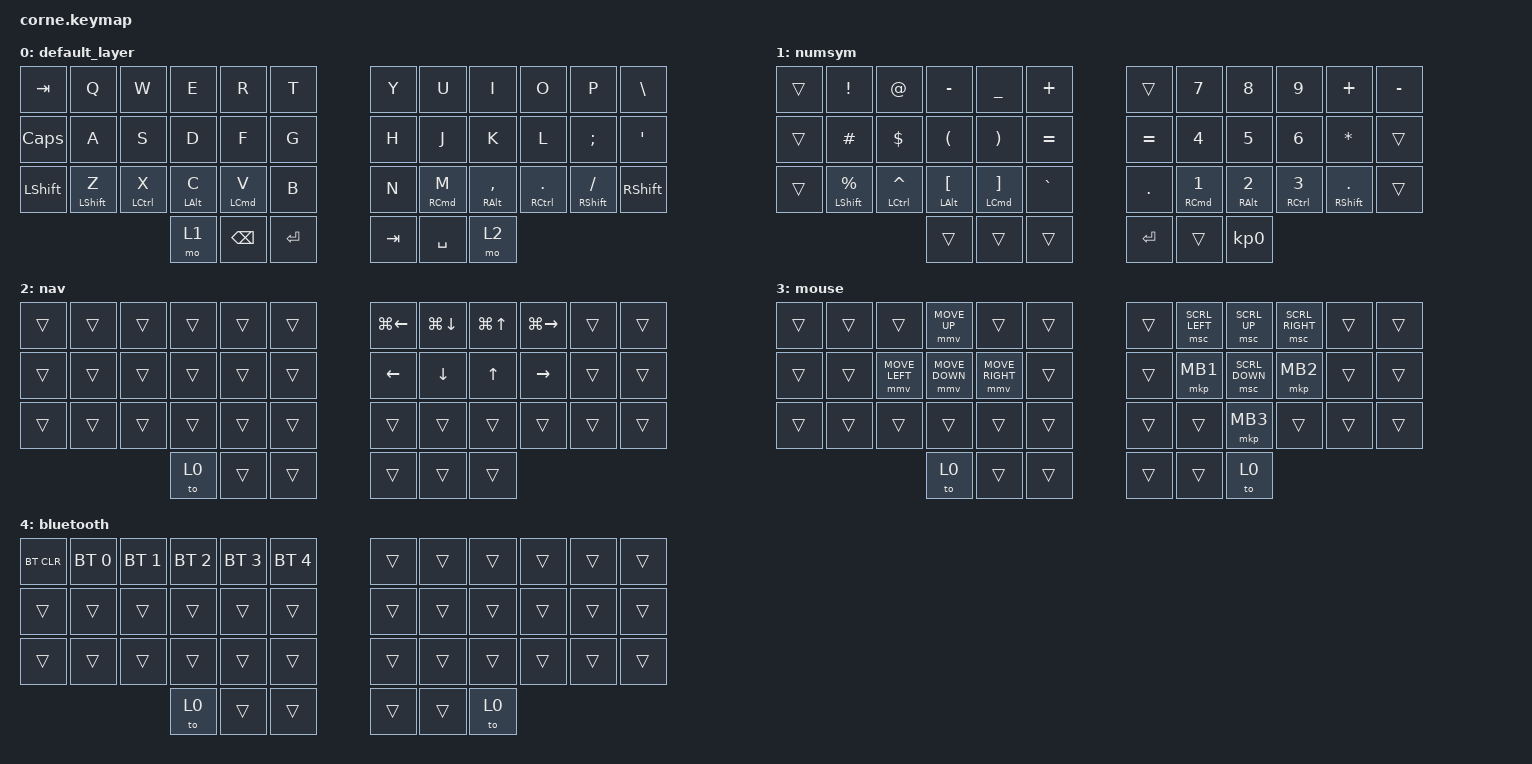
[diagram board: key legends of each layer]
/*
 * Copyright (c) 2020 The ZMK Contributors
 *
 * SPDX-License-Identifier: MIT
 */

#include <behaviors.dtsi>
#include <dt-bindings/zmk/bt.h>
#include <dt-bindings/zmk/keys.h>
#include <dt-bindings/zmk/pointing.h>

&mt {
    tapping-term-ms = <175>;
    flavor = "tap-preferred";
};

&mmv { time-to-max-speed-ms = <300>; };

/ {
    combos {
        compatible = "zmk,combos";

        to_mouse {
            bindings = <&to 3>;
            key-positions = <22 21>;
        };

        esc {
            bindings = <&kp ESCAPE>;
            key-positions = <20 19>;
        };

        lock_screen {
            bindings = <&kp LC(LG(Q))>;
            key-positions = <2 3 4 7 8 9>;
        };

        bluetooth {
            bindings = <&to 4>;
            key-positions = <25 26 27 28 31 32 33 34>;
        };
    };

    keymap {
        compatible = "zmk,keymap";

        default_layer {
            // -----------------------------------------------------------------------------------------
            // |  TAB |  Q  |  W  |  E  |  R  |  T  |   |  Y  |  U   |  I  |  O  |  P  | BKSP |
            // | CTRL |  A  |  S  |  D  |  F  |  G  |   |  H  |  J   |  K  |  L  |  ;  |  '   |
            // | SHFT |  Z  |  X  |  C  |  V  |  B  |   |  N  |  M   |  ,  |  .  |  /  | ESC  |
            //                    | GUI | LWR | SPC |   | ENT | RSE  | ALT |

            bindings = <
&kp TAB       &kp Q             &kp W               &kp E           &kp R               &kp T        &kp Y    &kp U                &kp I                &kp O                     &kp P                  &kp BACKSLASH
&kp CAPSLOCK  &kp A             &kp S               &kp D           &kp F               &kp G        &kp H    &kp J                &kp K                &kp L                     &kp SEMI               &kp SQT
&kp LSHFT     &mt LEFT_SHIFT Z  &mt LEFT_CONTROL X  &mt LEFT_ALT C  &mt LEFT_COMMAND V  &kp B        &kp N    &mt RIGHT_COMMAND M  &mt RIGHT_ALT COMMA  &mt RIGHT_CONTROL PERIOD  &mt RIGHT_SHIFT SLASH  &kp RIGHT_SHIFT
                                                    &mo 1           &kp BACKSPACE       &kp ENTER    &kp TAB  &kp SPACE            &mo 2
            >;
        };

        numsym {
            // -----------------------------------------------------------------------------------------
            // |  TAB |  1  |  2  |  3  |  4  |  5  |   |  6  |  7  |  8  |  9  |  0  | BKSP |
            // | BTCLR| BT1 | BT2 | BT3 | BT4 | BT5 |   | LFT | DWN |  UP | RGT |     |      |
            // | SHFT |     |     |     |     |     |   |     |     |     |     |     |      |
            //                    | GUI |     | SPC |   | ENT |     | ALT |

            bindings = <
&trans  &kp EXCLAMATION         &kp AT_SIGN             &kp MINUS                  &kp UNDERSCORE                  &kp PLUS     &trans      &kp N7                      &kp N8                  &kp N9                      &kp PLUS                &kp MINUS
&trans  &kp HASH                &kp DOLLAR              &kp LPAR                   &kp RIGHT_PARENTHESIS           &kp EQUAL    &kp EQUAL   &kp NUMBER_4                &kp N5                  &kp NUMBER_6                &kp ASTERISK            &trans
&trans  &mt LEFT_SHIFT PERCENT  &mt LEFT_CONTROL CARET  &mt LEFT_ALT LEFT_BRACKET  &mt LEFT_COMMAND RIGHT_BRACKET  &kp GRAVE    &kp PERIOD  &mt RIGHT_COMMAND NUMBER_1  &mt RIGHT_ALT NUMBER_2  &mt RIGHT_CONTROL NUMBER_3  &mt RIGHT_SHIFT PERIOD  &trans
                                                        &trans                     &trans                          &trans       &kp RET     &trans                      &kp KP_NUMBER_0
            >;
        };

        nav {
            bindings = <
&trans  &trans  &trans  &trans  &trans  &trans    &kp LG(LEFT)  &kp LG(DOWN_ARROW)  &kp LG(UP)    &kp LG(RIGHT)  &trans  &trans
&trans  &trans  &trans  &trans  &trans  &trans    &kp LEFT      &kp DOWN            &kp UP_ARROW  &kp RIGHT      &trans  &trans
&trans  &trans  &trans  &trans  &trans  &trans    &trans        &trans              &trans        &trans         &trans  &trans
                        &to 0   &trans  &trans    &trans        &trans              &trans
            >;
        };

        mouse {
            bindings = <
&trans  &trans  &trans          &mmv MOVE_UP    &trans           &trans    &trans  &msc SCRL_LEFT  &msc SCRL_UP    &msc SCRL_RIGHT  &trans  &trans
&trans  &trans  &mmv MOVE_LEFT  &mmv MOVE_DOWN  &mmv MOVE_RIGHT  &trans    &trans  &mkp MB1        &msc SCRL_DOWN  &mkp MB2         &trans  &trans
&trans  &trans  &trans          &trans          &trans           &trans    &trans  &trans          &mkp MB3        &trans           &trans  &trans
                                &to 0           &trans           &trans    &trans  &trans          &to 0
            >;
        };

        bluetooth {
            bindings = <
&bt BT_CLR  &bt BT_SEL 0  &bt BT_SEL 1  &bt BT_SEL 2  &bt BT_SEL 3  &bt BT_SEL 4    &trans  &trans  &trans  &trans  &trans  &trans
&trans      &trans        &trans        &trans        &trans        &trans          &trans  &trans  &trans  &trans  &trans  &trans
&trans      &trans        &trans        &trans        &trans        &trans          &trans  &trans  &trans  &trans  &trans  &trans
                                        &to 0         &trans        &trans          &trans  &trans  &to 0
            >;
        };
    };
};
